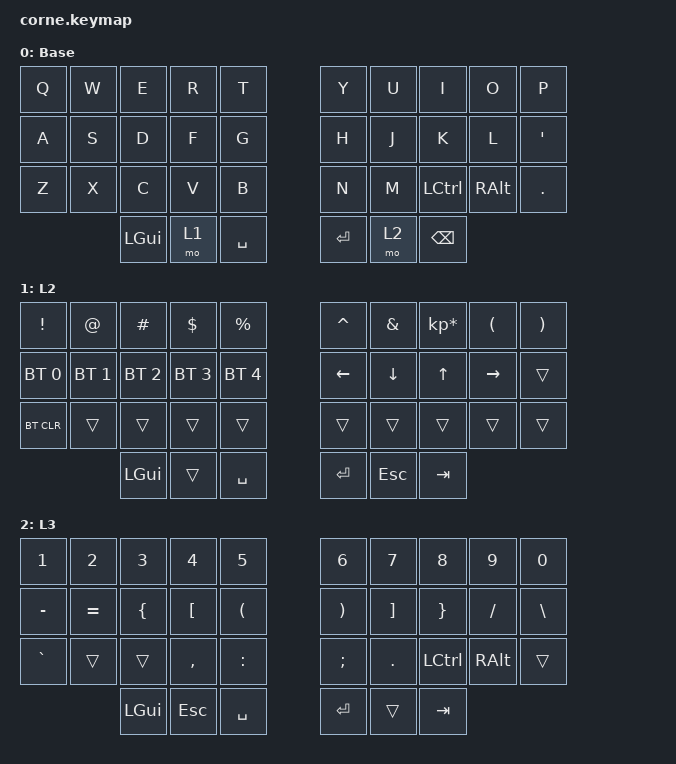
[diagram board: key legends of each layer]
/*
 * Copyright (c) 2020 The ZMK Contributors
 *
 * SPDX-License-Identifier: MIT
 */

#include <behaviors.dtsi>
#include <dt-bindings/zmk/keys.h>
#include <dt-bindings/zmk/bt.h>

/ {
    chosen {
        zmk,physical-layout = &foostan_corne_5col_layout;
    };

    behaviors {
        as: auto_shift {
            compatible = "zmk,behavior-hold-tap";
            #binding-cells = <2>;
            tapping_term_ms = <200>;
            quick_tap_ms = <0>;
            flavor = "tap-preferred";
            bindings = <&kp>, <&kp>;
        };
    };
        keymap {
                compatible = "zmk,keymap";

                default_layer {
// -----------------------------------------------------------------------------------------
// |  Q  |  W  |  E  |  R  |  T  |     |  Y  |  U   |  I   |  O   | P |
// |  A  |  S  |  D  |  F  |  G  |     |  H  |  J   |  K   |  L   | ' | 
// |  Z  |  X  |  C  |  V  |  B  |     |  N  |  M   | CTRL | META | . |
//             | GUI | LWR | SPC |     | ENT | RSE  | BSPC |
                        display-name = "Base";
                        bindings = <
   &kp Q &kp W &kp E &kp R &kp T     &kp Y   &kp U  &kp I     &kp O    &kp  P
   &kp A &kp S &kp D &kp F &kp G     &kp H   &kp J  &kp K     &kp L    &kp SQT
   &kp Z &kp X &kp C &kp V &kp B     &kp N   &kp M  &kp LCTL  &kp RALT &kp DOT
        &kp LGUI &mo 1 &kp SPACE     &kp RET &mo 2  &kp BSPC
                        >;
                };

                layer2 {
// -----------------------------------------------------------------------------------------
// | !     |  @  |  #  |  $  |  %  |     |  ^  |  &  |  *  |  (  |  )  |
// | BT1   | BT2 | BT3 | BT4 | BT5 |     | LFT | DWN |  UP | RGT |     |
// | BTCLR |     |     |     |     |     |     |     |     |     |     |
//               | GUI |     | SPC |     | ENT | ESC | TAB |
                        display-name = "L2";
                        bindings = <
   &kp EXCL     &kp AT       &kp HASH     &kp DLLR     &kp PRCNT        &kp CARET &kp AMPS  &kp KP_MULTIPLY &kp LPAR  &kp RPAR
   &bt BT_SEL 0 &bt BT_SEL 1 &bt BT_SEL 2 &bt BT_SEL 3 &bt BT_SEL 4     &kp LEFT  &kp DOWN  &kp UP          &kp RIGHT &trans 
   &bt BT_CLR   &trans       &trans       &trans       &trans           &trans    &trans    &trans          &trans    &trans 
                             &kp LGUI     &trans       &kp SPACE        &kp RET   &kp ESC   &kp TAB
                        >;
                };

                layer3 {
// -----------------------------------------------------------------------------------------
// | 1! |  2@ |  3# |  4$ |  5% |     |  6^ |  7& |  8* |  9(  |  0)  |
// | -_ |  =+ |  {  |  [  |  (  |     |  )  |  ]  |  }  |  /?  |  \|  |
// | `~ |     |     |  ,< |  :  |     |  ;  |  .> | CTRL| META |      |
//            | GUI | ESC | SPC |     | ENT |     | TAB |
                        display-name = "L3";
                        bindings = <

   &kp N1    &kp N2    &kp N3    &kp N4    &kp N5        &kp N6    &kp N7    &kp N8    &kp N9   &kp N0
   &kp MINUS &kp EQUAL &kp LBRC  &kp LBKT  &kp LPAR      &kp RPAR  &kp RBKT  &kp RBRC  &kp FSLH &kp BSLH
   &kp GRAVE &trans    &trans    &kp COMMA &kp COLON     &kp SEMI  &kp DOT   &kp LCTRL &kp RALT &trans
                       &kp LGUI  &kp ESC   &kp SPACE     &kp RET   &trans    &kp TAB
                        >;
                };

                extra_1 {
                        status = "reserved";
                };

                extra_2 {
                        status = "reserved";
                };

                extra_3 {
                        status = "reserved";
                };
        };
};
